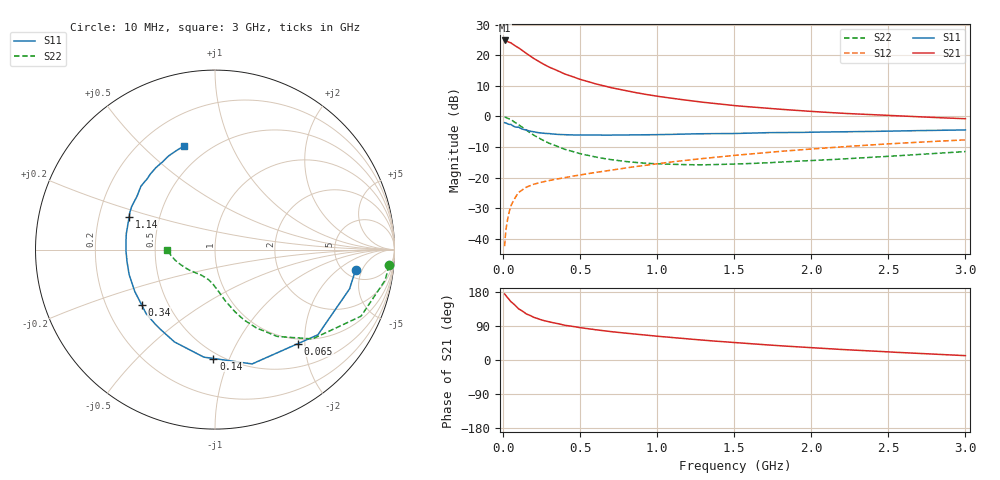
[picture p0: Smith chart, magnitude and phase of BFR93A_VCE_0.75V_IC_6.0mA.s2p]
! Infineon Technologies  Discrete & RF Semiconductors
! BFR93A
! VCE = 0.75 V,  IC =  6.0 mA
! Common Emitter S-Parameters:  Nov 2015
# GHz  S  MA  R  50
!  f  S11  S21  S12  S22
! GHz  MAG  ANG  MAG  ANG  MAG  ANG  MAG  ANG
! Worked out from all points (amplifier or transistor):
!   180 points, 10 MHz to 3 GHz, reference 50 ohm
!   highest |S21| = 24.9 dB at 10 MHz (marker M1)
!   |S21| within 3 dB of that: start of sweep to 116.9 MHz
!   unconditionally stable (mu >= 1): 634.8 MHz to end of sweep
!   at 160 MHz: K = 0.39, MSG = 21.7 dB, |S12| = -23.0 dB
!   at 1.22 GHz: K = 1.15, MAG = 7.3 dB, |S12| = -14.2 dB
!   at 3 GHz: K = 1.04, MAG = 2.2 dB, |S12| = -7.7 dB
!   S11 on the Smith chart (normalised r, x): 10 MHz: 6.22, -3.80; 65 MHz: 0.91, -1.86; 140 MHz: 0.46, -0.88; 340 MHz: 0.36, -0.30; 1.14 GHz: 0.33, +0.17; 3 GHz: 0.37, +0.67
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0.01  0.7912 -8.3  17.6 174.4  0.0075 86.7  0.9752 -5.2
0.02  0.781 -16.3  17.38 168.9  0.0147 81.1  0.9626 -10.3
0.05  0.7444 -39.6  16.14 154.2  0.0339 70.3  0.8942 -24.5
0.065  0.6991 -48.5  15.16 149.2  0.0405 64.8  0.8389 -29.2
0.1  0.6697 -72.0  13.4 135.2  0.0566 57.2  0.7367 -42.5
0.14  0.6068 -90.8  11.29 125.0  0.0667 50.8  0.6218 -51.5
0.15  0.6024 -95.9  10.83 121.8  0.0693 49.5  0.596 -54.3
0.2  0.5619 -113.7  8.905 112.5  0.0778 46.1  0.4928 -62.2
0.24  0.5386 -124.2  7.745 107.0  0.0827 44.6  0.4322 -66.8
0.26  0.5321 -128.9  7.255 104.5  0.085 44.2  0.4066 -68.8
0.3  0.524 -137.0  6.425 100.2  0.0894 44.0  0.3636 -72.2
0.34  0.5116 -143.0  5.828 97.3  0.0935 44.3  0.3336 -74.5
0.4  0.5042 -152.4  4.968 91.7  0.0997 44.7  0.2899 -78.8
0.52  0.4967 -165.4  3.929 84.3  0.1123 46.3  0.2396 -84.3
0.7  0.496 -179.0  2.971 74.9  0.1324 48.4  0.1965 -92.3
0.88  0.5009 170.9  2.411 67.5  0.1534 49.8  0.1749 -100.2
1.02  0.5047 164.0  2.111 62.0  0.1706 50.2  0.1668 -106.0
1.14  0.5122 159.0  1.92 57.9  0.1856 50.3  0.1636 -111.5
1.52  0.5273 145.2  1.493 45.4  0.2328 48.9  0.1667 -128.0
2.02  0.5539 130.6  1.202 32.0  0.2955 45.1  0.1906 -146.5
2.52  0.5765 118.3  1.032 21.0  0.3582 39.6  0.2239 -163.1
3  0.6017 106.8  0.919 11.5  0.4141 33.3  0.2662 -179.1
